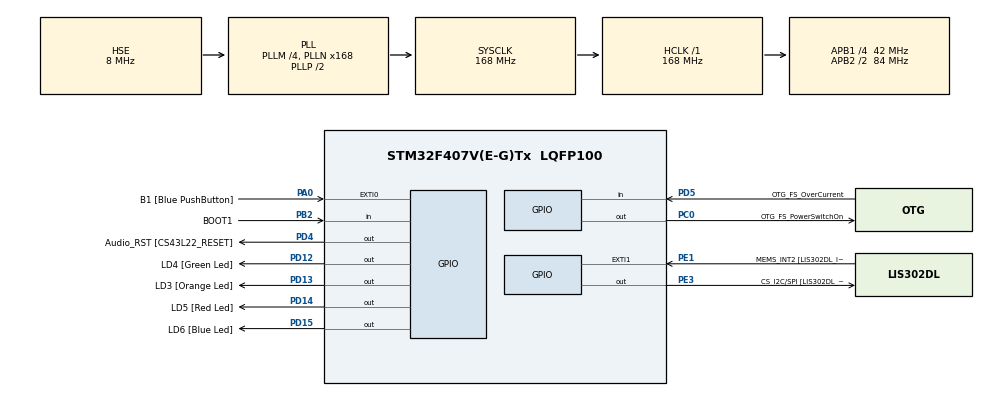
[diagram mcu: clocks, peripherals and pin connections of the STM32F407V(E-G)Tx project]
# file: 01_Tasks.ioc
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Mcu.Family=STM32F4
Mcu.Name=STM32F407V(E-G)Tx
Mcu.Package=LQFP100
NVIC.PriorityGroup=NVIC_PRIORITYGROUP_4
NVIC.TIM6_DAC_IRQn=true\:0\:0\:false\:false\:true\:false\:true\:true
NVIC.TimeBase=TIM6_DAC_IRQn
NVIC.TimeBaseIP=TIM6
PA0-WKUP.GPIO_Label=B1 [Blue PushButton]
PA0-WKUP.Signal=GPXTI0
PA10.GPIO_Label=OTG_FS_ID
PA10.GPIO_Mode=GPIO_MODE_AF_PP
PA10.GPIO_PuPd=GPIO_NOPULL
PA10.GPIO_Speed=GPIO_SPEED_FREQ_LOW
PA10.Signal=USB_OTG_FS_ID
PA11.GPIO_Label=OTG_FS_DM
PA11.GPIO_Mode=GPIO_MODE_AF_PP
PA11.GPIO_PuPd=GPIO_NOPULL
PA11.GPIO_Speed=GPIO_SPEED_FREQ_LOW
PA11.Signal=USB_OTG_FS_DM
PA12.GPIO_Label=OTG_FS_DP
PA12.GPIO_Mode=GPIO_MODE_AF_PP
PA12.GPIO_PuPd=GPIO_NOPULL
PA12.GPIO_Speed=GPIO_SPEED_FREQ_LOW
PA12.Signal=USB_OTG_FS_DP
PA13.GPIO_Label=SWDIO
PA13.Signal=SYS_JTMS-SWDIO
PA14.GPIO_Label=SWCLK
PA14.Signal=SYS_JTCK-SWCLK
PA4.GPIO_Label=I2S3_WS [CS43L22_LRCK]
PA4.GPIO_Mode=GPIO_MODE_AF_PP
PA4.GPIO_PuPd=GPIO_NOPULL
PA4.GPIO_Speed=GPIO_SPEED_FREQ_LOW
PA4.Signal=I2S3_WS
PA5.GPIO_Label=SPI1_SCK [LIS302DL_SCL/SPC]
PA5.GPIO_Mode=GPIO_MODE_AF_PP
PA5.GPIO_PuPd=GPIO_NOPULL
PA5.GPIO_Speed=GPIO_SPEED_FREQ_LOW
PA5.Signal=SPI1_SCK
PA6.GPIO_Label=SPI1_MISO [LIS302DL_SDO]
PA6.GPIO_Mode=GPIO_MODE_AF_PP
PA6.GPIO_PuPd=GPIO_NOPULL
PA6.GPIO_Speed=GPIO_SPEED_FREQ_LOW
PA6.Signal=SPI1_MISO
PA7.GPIO_Label=SPI1_MOSI [LIS302DL_SDA/SDI/SDO]
PA7.GPIO_Mode=GPIO_MODE_AF_PP
PA7.GPIO_PuPd=GPIO_NOPULL
PA7.GPIO_Speed=GPIO_SPEED_FREQ_LOW
PA7.Signal=SPI1_MOSI
PA9.GPIO_Label=VBUS_FS
PA9.GPIO_Mode=GPIO_MODE_INPUT
PA9.GPIO_PuPd=GPIO_NOPULL
PA9.Signal=USB_OTG_FS_VBUS
PB10.GPIO_Label=CLK_IN [MP45DT02_CLK]
PB10.GPIO_Mode=GPIO_MODE_AF_PP
PB10.GPIO_PuPd=GPIO_NOPULL
PB10.GPIO_Speed=GPIO_SPEED_FREQ_LOW
PB10.Signal=I2S2_CK
PB2.GPIO_Label=BOOT1
PB2.GPIO_Mode=GPIO_MODE_INPUT
PB2.GPIO_PuPd=GPIO_NOPULL
PB2.Signal=GPIO_Input
PB3.GPIO_Label=SWO
PB3.Signal=SYS_JTDO-SWO
PB6.GPIO_Label=Audio_SCL [CS43L22_SCL]
PB6.GPIO_Mode=GPIO_MODE_AF_OD
PB6.GPIO_PuPd=GPIO_NOPULL
PB6.GPIO_Speed=GPIO_SPEED_FREQ_LOW
PB6.Signal=I2C1_SCL
PB9.GPIO_Label=Audio_SDA [CS43L22_SDA]
PB9.GPIO_Mode=GPIO_MODE_AF_OD
PB9.GPIO_PuPd=GPIO_NOPULL
PB9.GPIO_Speed=GPIO_SPEED_FREQ_LOW
PB9.Signal=I2C1_SDA
PC0.GPIO_Label=OTG_FS_PowerSwitchOn
PC0.GPIO_PuPd=GPIO_NOPULL
PC0.GPIO_Speed=GPIO_SPEED_FREQ_LOW
PC0.PinState=GPIO_PIN_SET
PC0.Signal=GPIO_Output
PC10.GPIO_Label=I2S3_SCK [CS43L22_SCLK]
PC10.GPIO_Mode=GPIO_MODE_AF_PP
PC10.GPIO_PuPd=GPIO_NOPULL
PC10.GPIO_Speed=GPIO_SPEED_FREQ_LOW
PC10.Signal=I2S3_CK
PC12.GPIO_Label=I2S3_SD [CS43L22_SDIN]
PC12.GPIO_Mode=GPIO_MODE_AF_PP
PC12.GPIO_PuPd=GPIO_NOPULL
PC12.GPIO_Speed=GPIO_SPEED_FREQ_LOW
PC12.Signal=I2S3_SD
PC14-OSC32_IN.GPIO_Label=PC14-OSC32_IN
PC14-OSC32_IN.Signal=RCC_OSC32_IN
PC15-OSC32_OUT.GPIO_Label=PC15-OSC32_OUT
PC15-OSC32_OUT.Signal=RCC_OSC32_OUT
PC3.GPIO_Label=PDM_OUT [MP45DT02_DOUT]
PC3.GPIO_Mode=GPIO_MODE_AF_PP
PC3.GPIO_PuPd=GPIO_NOPULL
PC3.GPIO_Speed=GPIO_SPEED_FREQ_LOW
PC3.Signal=I2S2_SD
PC7.GPIO_Label=I2S3_MCK [CS43L22_MCLK]
PC7.GPIO_Mode=GPIO_MODE_AF_PP
PC7.GPIO_PuPd=GPIO_NOPULL
PC7.GPIO_Speed=GPIO_SPEED_FREQ_LOW
PC7.Signal=I2S3_MCK
PD12.GPIO_Label=LD4 [Green Led]
PD12.GPIO_PuPd=GPIO_NOPULL
PD12.GPIO_Speed=GPIO_SPEED_FREQ_LOW
PD12.Signal=GPIO_Output
PD13.GPIO_Label=LD3 [Orange Led]
PD13.GPIO_PuPd=GPIO_NOPULL
PD13.GPIO_Speed=GPIO_SPEED_FREQ_LOW
PD13.Signal=GPIO_Output
PD14.GPIO_Label=LD5 [Red Led]
PD14.GPIO_PuPd=GPIO_NOPULL
PD14.GPIO_Speed=GPIO_SPEED_FREQ_LOW
PD14.Signal=GPIO_Output
PD15.GPIO_Label=LD6 [Blue Led]
PD15.GPIO_PuPd=GPIO_NOPULL
PD15.GPIO_Speed=GPIO_SPEED_FREQ_LOW
PD15.Signal=GPIO_Output
PD4.GPIO_Label=Audio_RST [CS43L22_RESET]
PD4.GPIO_PuPd=GPIO_NOPULL
PD4.GPIO_Speed=GPIO_SPEED_FREQ_LOW
PD4.Signal=GPIO_Output
PD5.GPIO_Label=OTG_FS_OverCurrent
PD5.GPIO_Mode=GPIO_MODE_INPUT
PD5.GPIO_PuPd=GPIO_NOPULL
PD5.Signal=GPIO_Input
PE1.GPIO_Label=MEMS_INT2 [LIS302DL_INT2]
PE1.GPIO_ModeDefaultEXTI=GPIO_MODE_EVT_RISING
PE1.GPIO_PuPd=GPIO_NOPULL
PE1.Signal=GPXTI1
PE3.GPIO_Label=CS_I2C/SPI [LIS302DL_CS_I2C/SPI]
PE3.GPIO_PuPd=GPIO_NOPULL
PE3.GPIO_Speed=GPIO_SPEED_FREQ_LOW
PE3.Signal=GPIO_Output
PH0-OSC_IN.GPIO_Label=PH0-OSC_IN
PH0-OSC_IN.Mode=HSE-External-Clock-Source
PH0-OSC_IN.Signal=RCC_OSC_IN
PH1-OSC_OUT.GPIO_Label=PH1-OSC_OUT
PH1-OSC_OUT.Mode=HSE-External-Clock-Source
PH1-OSC_OUT.Signal=RCC_OSC_OUT
ProjectManager.HeapSize=0x200
ProjectManager.StackSize=0x400
ProjectManager.TargetToolchain=STM32CubeIDE
RCC.48MHZClocksFreq_Value=48000000
RCC.AHBFreq_Value=168000000
RCC.APB1CLKDivider=RCC_HCLK_DIV4
RCC.APB1Freq_Value=42000000
RCC.APB1TimFreq_Value=84000000
RCC.APB2CLKDivider=RCC_HCLK_DIV2
RCC.APB2Freq_Value=84000000
RCC.APB2TimFreq_Value=168000000
RCC.CortexFreq_Value=168000000
RCC.HCLKFreq_Value=168000000
RCC.HSE_VALUE=8000000
RCC.HSI_VALUE=16000000
RCC.LSE_VALUE=32768
RCC.PLLM=4
RCC.PLLN=168
RCC.PLLQ=7
RCC.PLLSourceVirtual=RCC_PLLSOURCE_HSE
RCC.SYSCLKFreq_VALUE=168000000
RCC.SYSCLKSource=RCC_SYSCLKSOURCE_PLLCLK
RCC.VCOOutputFreq_Value=336000000
VP_SYS_VS_tim6.Mode=TIM6
board=STM32F407G-DISC1

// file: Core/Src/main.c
/*
# ##############################################################################
# File: main.c                                                                 #
# Project: Src                                                                 #
# Created Date: Monday, November 6th 2023, 7:52:46 pm                          #
# Author: Zafeer Abbasi                                                        #
# ----------------------------------------------                               #
# Last Modified: Thursday, November 9th 2023, 7:12:33 pm                       #
# Modified By: Zafeer Abbasi                                                   #
# ----------------------------------------------                               #
# Copyright (c) 2023 Zafeer.A                                                  #
# ----------------------------------------------                               #
# HISTORY:                                                                     #
 */
/* USER CODE BEGIN Header */
/**
  ******************************************************************************
  * @file           : main.c
  * @brief          : Main program body
  ******************************************************************************
  * @attention
  *
  * Copyright (c) 2023 STMicroelectronics.
  * All rights reserved.
  *
  * This software is licensed under terms that can be found in the LICENSE file
  * in the root directory of this software component.
  * If no LICENSE file comes with this software, it is provided AS-IS.
  *
  ******************************************************************************
  */
/* USER CODE END Header */
#include "main.h"
#include "gpio.h"

/* USER CODE BEGIN Includes */

#include "FreeRTOS.h"
#include "task.h"
#include <stdio.h>

/* USER CODE END Includes */

/* USER CODE BEGIN PV */

#define DWT_CTRL    (*(volatile uint32_t*)0xE0001000)

/* USER CODE END PV */

void SystemClock_Config(void);
/* USER CODE BEGIN PFP */

static void TASK_tsk1Hdler( void *params );
static void TASK_tsk2Hdler( void *params );

/* USER CODE END PFP */

int main(void)
{
  /* USER CODE BEGIN 1 */

  TaskHandle_t tsk1Hdl, tsk2Hdl;
  BaseType_t status;

  /* USER CODE END 1 */

  /* MCU Configuration--------------------------------------------------------*/

  /* Reset of all peripherals, Initializes the Flash interface and the Systick. */
  HAL_Init();

  /* Configure the system clock */
  SystemClock_Config();

  /* Initialize all configured peripherals */
  MX_GPIO_Init();
  /* USER CODE BEGIN 2 */

  /*Enable the Cycle Count Register in Cortext M4 Processor*/
  DWT_CTRL |= ( 1 << 0 );

  SEGGER_SYSVIEW_Conf();

  SEGGER_SYSVIEW_Start();

  status = xTaskCreate( TASK_tsk1Hdler, "Task - 1", 200, "Hello World from Task - 1", 2, &tsk1Hdl );
  configASSERT( status == pdPASS );

  status = xTaskCreate( TASK_tsk2Hdler, "Task - 2", 200, "Hello World from Task - 2", 2, &tsk2Hdl );
  configASSERT( status == pdPASS );

  /*Start the FreeRTOS Scheduler*/
  vTaskStartScheduler( );

  /*If the control reaches this point, then the launch of the scheduler must have failed
  due to insufficient memory*/

  /* USER CODE END 2 */

  /* Infinite loop */
  while (1)
  {

  }
}

void SystemClock_Config(void)
{
  RCC_OscInitTypeDef RCC_OscInitStruct = {0};
  RCC_ClkInitTypeDef RCC_ClkInitStruct = {0};

  /** Configure the main internal regulator output voltage
  */
  __HAL_RCC_PWR_CLK_ENABLE();
  __HAL_PWR_VOLTAGESCALING_CONFIG(PWR_REGULATOR_VOLTAGE_SCALE1);

  /** Initializes the RCC Oscillators according to the specified parameters
  * in the RCC_OscInitTypeDef structure.
  */
  RCC_OscInitStruct.OscillatorType = RCC_OSCILLATORTYPE_HSE;
  RCC_OscInitStruct.HSEState = RCC_HSE_BYPASS;
  RCC_OscInitStruct.PLL.PLLState = RCC_PLL_ON;
  RCC_OscInitStruct.PLL.PLLSource = RCC_PLLSOURCE_HSE;
  RCC_OscInitStruct.PLL.PLLM = 4;
  RCC_OscInitStruct.PLL.PLLN = 168;
  RCC_OscInitStruct.PLL.PLLP = RCC_PLLP_DIV2;
  RCC_OscInitStruct.PLL.PLLQ = 7;
  if (HAL_RCC_OscConfig(&RCC_OscInitStruct) != HAL_OK)
  {
    Error_Handler();
  }

  /** Initializes the CPU, AHB and APB buses clocks
  */
  RCC_ClkInitStruct.ClockType = RCC_CLOCKTYPE_HCLK|RCC_CLOCKTYPE_SYSCLK
                              |RCC_CLOCKTYPE_PCLK1|RCC_CLOCKTYPE_PCLK2;
  RCC_ClkInitStruct.SYSCLKSource = RCC_SYSCLKSOURCE_PLLCLK;
  RCC_ClkInitStruct.AHBCLKDivider = RCC_SYSCLK_DIV1;
  RCC_ClkInitStruct.APB1CLKDivider = RCC_HCLK_DIV4;
  RCC_ClkInitStruct.APB2CLKDivider = RCC_HCLK_DIV2;

  if (HAL_RCC_ClockConfig(&RCC_ClkInitStruct, FLASH_LATENCY_5) != HAL_OK)
  {
    Error_Handler();
  }
}

/* USER CODE BEGIN 4 */

static void TASK_tsk1Hdler( void *params )
{
  /*Must be an infinte loop*/
  while( 1 )
  {
    printf( "%s \n", ( char *)params );
   taskYIELD( );
  }
}

static void TASK_tsk2Hdler( void *params )
{
  /*Must be an infinte loop*/
  while( 1 )
  {
    printf( "%s \n", ( char *)params );
   taskYIELD( );
  }
}

/* USER CODE END 4 */

void HAL_TIM_PeriodElapsedCallback(TIM_HandleTypeDef *htim)
{
  if (htim->Instance == TIM6) {
    HAL_IncTick();
  }
}

void Error_Handler(void)
{
  __disable_irq();
  while (1)
  {
  }
}
